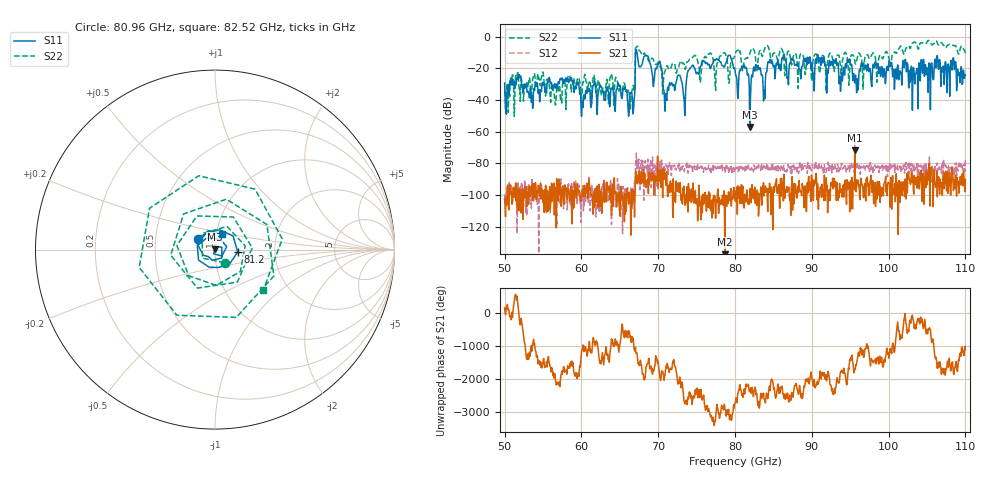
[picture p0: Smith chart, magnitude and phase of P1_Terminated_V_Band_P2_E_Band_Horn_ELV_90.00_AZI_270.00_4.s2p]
! 11/26/2026 10:34:52 AM
! C:\ANRITSUVNA\TEMP\TEMP.S2P
! CHANNEL.1
! TR.MEASUREMENT
! RAW.DATA
# HZ S RI R 50.0
! FREQ.HZ  S11RE  S11IM  S21RE  S21IM  S12RE  S12IM  S22RE  S22IM
!; PortSelection: Port_12
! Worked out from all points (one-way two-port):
!   1001 points, 50 GHz to 110 GHz, reference 50 ohm
!   highest |S21| = -71.80 dB at 95.6 GHz (marker M1); lowest = -140.0 dB at 78.68 GHz (marker M2)
!   lowest |S11| = -57.0 dB at 81.92 GHz (marker M3), VSWR 1.00, Z = 49.9 + j0.116 ohm
!   |S11| at or under -10 dB: start of sweep to 67.04 GHz; 67.24 GHz to end of sweep
!   |S22| runs from -50.3 to -2.4 dB; largest |S21 - S12| = 0.00063
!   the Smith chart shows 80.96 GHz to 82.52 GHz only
!   S11 on the Smith chart (normalised r, x): 80.96 GHz: 0.82, +0.10; 81.2 GHz: 1.29, -0.03; 82.52 GHz: 1.06, +0.19
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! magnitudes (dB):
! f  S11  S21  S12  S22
! 50 GHz  -29.2  -102.5  -103.2  -34.0
! 58.46 GHz  -26.7  -103.9  -100.0  -24.6
! 60.02 GHz  -50.2  -100.9  -98.0  -38.8
! 66.44 GHz  -35.4  -125.4  -96.3  -40.5
! 67.34 GHz  -13.7  -87.4  -77.6  -6.6
! 70.04 GHz  -17.4  -91.8  -82.7  -16.2
! 71.06 GHz  -39.0  -86.6  -81.9  -19.2
! 72.68 GHz  -24.4  -94.7  -83.3  -19.2
! 73.4 GHz  -41.7  -100.4  -85.1  -17.8
! 74.36 GHz  -18.9  -103.5  -81.9  -13.6
! 77.54 GHz  -14.2  -104.9  -83.6  -22.7
! 78.68 GHz  -18.3  -140.0  -82.1  -10.2
! 80 GHz  -21.0  -102.0  -83.4  -11.4
! 80.96 GHz  -19.0  -97.0  -84.7  -20.8
! 81.2 GHz  -17.9  -108.2  -82.3  -15.4
! 81.92 GHz  -57.0  -105.1  -84.0  -10.8
! 82.52 GHz  -20.5  -102.8  -81.1  -9.1
! 90.02 GHz  -16.7  -95.2  -82.7  -27.2
! 94.88 GHz  -14.2  -92.1  -81.4  -28.1
! 95.6 GHz  -29.2  -71.8  -66.4  -15.3
! 100 GHz  -16.3  -92.2  -85.1  -13.4
! 110 GHz  -24.3  -90.1  -77.0  -11.0
